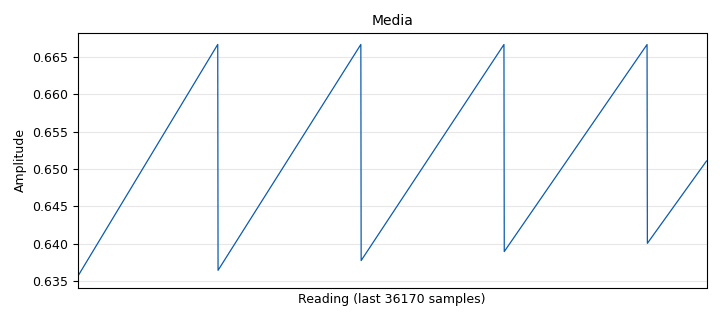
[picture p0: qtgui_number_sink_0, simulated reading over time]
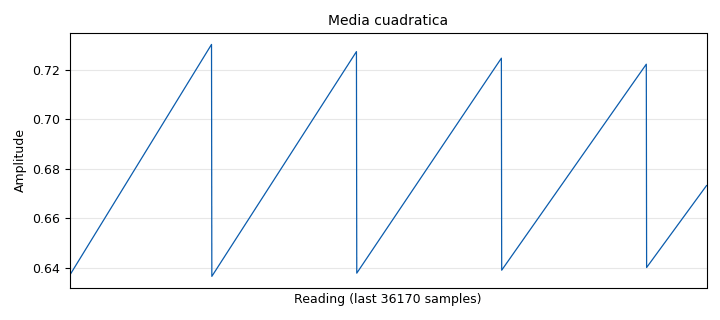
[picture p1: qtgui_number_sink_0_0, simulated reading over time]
options:
  parameters:
    generate_options: qt_gui
    id: Promedios
    output_language: python
    title: Not titled yet
  states: {}

blocks:
- name: samp_rate
  id: variable
  parameters:
    value: '32000'
  states: {}
- name: blocks_vector_source_x_0
  id: blocks_vector_source_x
  parameters:
    repeat: 'True'
    type: float
    vector: (1, 2, -1)
  states: {}
- name: blocks_vector_source_x_0_0
  id: blocks_vector_source_x
  parameters:
    repeat: 'True'
    type: float
    vector: (1, 2, -1)
  states: {state: disabled}
- name: epy_block_0
  id: epy_block
  parameters:
    _source_code: |
      import numpy as np
      from gnuradio import gr

      class blk (gr. sync_block ):
      	def __init__ ( self ) : # only default arguments here
      		gr. sync_block . __init__ (
      			self ,
      			name ='e_Acum', # will show up in GRC
      			in_sig =[ np. float32 ],
      			out_sig =[ np. float32 ]
      		)
      	def work (self , input_items , output_items ):
      		x = input_items [0] # Senial de entrada .
      		y0 = output_items [0] # Senial acumulada
      		y0 [:] = np. cumsum (x)
      		return len (y)
  states: {state: disabled}
- name: epy_block_1
  id: epy_block
  parameters:
    _source_code: |
      import numpy as np
      from gnuradio import gr

      class blk (gr.sync_block ):
      	def __init__ ( self ) : # only default arguments here
      		gr.sync_block.__init__ (
      			self ,
      			name ='e_Diff', # will show up in GRC
      			in_sig =[ np.float32 ],
      			out_sig =[ np.float32 ]
      		)
      		self.acum_anterior = 0
      		
      	def work (self , input_items , output_items ):
      		x = input_items [0] # Senial de entrada.
      		y0 = output_items [0] # Senial acumulada diferencial
      		N = len (x)
      		diff = np.cumsum (x) - self.acum_anterior
      		self.acum_anterior = diff[N -1]
      		y0 [:] = diff
      		return len (y)
  states: {state: disabled}
- name: epy_block_2
  id: epy_block
  parameters:
    _source_code: |
      import numpy as np
      from gnuradio import gr
      class blk (gr. sync_block ):
      	def __init__ ( self ) : # only default arguments here
      		gr. sync_block . __init__ (
      			self ,
      			name ='Promedios_de_tiempos', # will show up in GRC
      			in_sig =[ np. float32 ],
      			out_sig =[ np. float32 ,np. float32 ,np. float32 ,np. float32 ,np. float32 ]
      		)
      		self . acum_anterior = 0
      		self . Ntotales = 0
      		self . acum_anterior1 = 0
      		self . acum_anterior2 = 0
      	def work (self , input_items , output_items ):
      		x = input_items [0] # Senial de entrada .
      		y0 = output_items [0] # Promedio de la senial
      		y1 = output_items [1] # Media de la senial
      		y2 = output_items [2] # RMS de la senial
      		y3 = output_items [3] # Potencia promedio de la senial
      		y4 = output_items [4] # Desviacion estandar de la senial
      		# Calculo del promedio
      		N = len (x)
      		self . Ntotales = self . Ntotales + N
      		acumulado = self . acum_anterior + np. cumsum (x)
      		self . acum_anterior = acumulado [N -1]
      		y0 [:]= acumulado / self . Ntotales
      		# Calculo de la media cuadratica
      		x2=np. multiply (x,x)
      		acumulado1 = self . acum_anterior1 + np. cumsum (x2)
      		self . acum_anterior1 = acumulado [N -1]
      		y1 [:] = acumulado1 / self . Ntotales
      		# Calculo de la RMS
      		y2 [:] = np. sqrt (y1)
      		# Calculo de la potencia promedio
      		y3 [:] = np. multiply (y2 ,y2)
      		# Calculo de la desviacion estandar
      		x3 = np. multiply (x-y0 ,x-y0)
      		acumulado2 = self . acum_anterior2 + np. cumsum (x3)
      		self . acum_anterior2 = acumulado2 [N -1]
      		y4 [:] = np. sqrt ( acumulado2 / self . Ntotales )
      		return len (x)
  states: {}
- name: qtgui_number_sink_0
  id: qtgui_number_sink
  parameters:
    graph_type: qtgui.NUM_GRAPH_HORIZ
    name: Media
    type: float
  states: {}
- name: qtgui_number_sink_0_0
  id: qtgui_number_sink
  parameters:
    graph_type: qtgui.NUM_GRAPH_HORIZ
    name: Media cuadratica
    type: float
  states: {}
- name: qtgui_number_sink_0_1
  id: qtgui_number_sink
  parameters:
    graph_type: qtgui.NUM_GRAPH_HORIZ
    name: RMS
    type: float
  states: {}
- name: qtgui_number_sink_0_2
  id: qtgui_number_sink
  parameters:
    graph_type: qtgui.NUM_GRAPH_HORIZ
    name: Potencia Promedio
    type: float
  states: {}
- name: qtgui_number_sink_0_3
  id: qtgui_number_sink
  parameters:
    graph_type: qtgui.NUM_GRAPH_HORIZ
    name: Desviacion Estandar
    type: float
  states: {}
- name: qtgui_number_sink_0_4
  id: qtgui_number_sink
  parameters:
    graph_type: qtgui.NUM_GRAPH_HORIZ
    max: '10'
    min: '-10'
    name: acumulador
    type: float
  states: {state: disabled}

connections:
- [blocks_vector_source_x_0, '0', epy_block_2, '0']
- [blocks_vector_source_x_0_0, '0', epy_block_0, '0']
- [epy_block_0, '0', qtgui_number_sink_0_4, '0']
- [epy_block_2, '0', qtgui_number_sink_0, '0']
- [epy_block_2, '1', qtgui_number_sink_0_0, '0']
- [epy_block_2, '2', qtgui_number_sink_0_1, '0']
- [epy_block_2, '3', qtgui_number_sink_0_2, '0']
- [epy_block_2, '4', qtgui_number_sink_0_3, '0']

metadata:
  file_format: 1
  grc_version: 3.9.8.0
